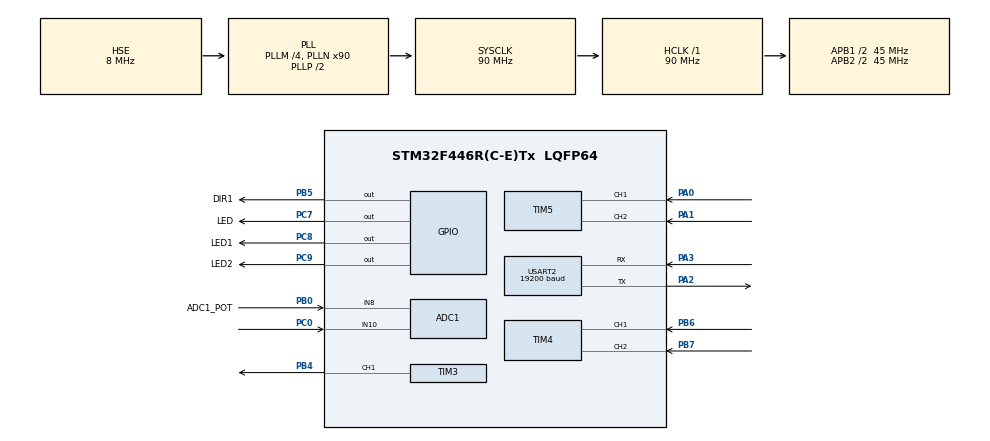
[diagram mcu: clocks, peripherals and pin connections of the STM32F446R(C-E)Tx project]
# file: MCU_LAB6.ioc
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ADC1.Channel-3\#ChannelRegularConversion=ADC_CHANNEL_8
ADC1.Channel-4\#ChannelRegularConversion=ADC_CHANNEL_10
ADC1.DMAContinuousRequests=ENABLE
ADC1.NbrOfConversion=2
ADC1.NbrOfConversionFlag=1
ADC1.Rank-3\#ChannelRegularConversion=1
ADC1.Rank-4\#ChannelRegularConversion=2
ADC1.SamplingTime-3\#ChannelRegularConversion=ADC_SAMPLETIME_15CYCLES
ADC1.SamplingTime-4\#ChannelRegularConversion=ADC_SAMPLETIME_15CYCLES
ADC1.ScanConvMode=ENABLE
ADC1.master=1
Dma.ADC1.1.Direction=DMA_PERIPH_TO_MEMORY
Dma.ADC1.1.FIFOMode=DMA_FIFOMODE_DISABLE
Dma.ADC1.1.Instance=DMA2_Stream0
Dma.ADC1.1.MemDataAlignment=DMA_MDATAALIGN_HALFWORD
Dma.ADC1.1.MemInc=DMA_MINC_ENABLE
Dma.ADC1.1.Mode=DMA_NORMAL
Dma.ADC1.1.PeriphDataAlignment=DMA_PDATAALIGN_HALFWORD
Dma.ADC1.1.PeriphInc=DMA_PINC_DISABLE
Dma.ADC1.1.Priority=DMA_PRIORITY_LOW
Dma.Request0=USART2_TX
Dma.Request1=ADC1
Dma.USART2_TX.0.Direction=DMA_MEMORY_TO_PERIPH
Dma.USART2_TX.0.FIFOMode=DMA_FIFOMODE_DISABLE
Dma.USART2_TX.0.Instance=DMA1_Stream6
Dma.USART2_TX.0.MemDataAlignment=DMA_MDATAALIGN_BYTE
Dma.USART2_TX.0.MemInc=DMA_MINC_ENABLE
Dma.USART2_TX.0.Mode=DMA_NORMAL
Dma.USART2_TX.0.PeriphDataAlignment=DMA_PDATAALIGN_BYTE
Dma.USART2_TX.0.PeriphInc=DMA_PINC_DISABLE
Dma.USART2_TX.0.Priority=DMA_PRIORITY_LOW
Mcu.Family=STM32F4
Mcu.Name=STM32F446R(C-E)Tx
Mcu.Package=LQFP64
NVIC.DMA1_Stream6_IRQn=true\:0\:0\:false\:false\:true\:false\:true\:true
NVIC.DMA2_Stream0_IRQn=true\:0\:0\:false\:false\:true\:false\:true\:true
NVIC.PriorityGroup=NVIC_PRIORITYGROUP_4
NVIC.TIM1_BRK_TIM9_IRQn=true\:0\:0\:false\:false\:true\:true\:true\:true
NVIC.TIM1_CC_IRQn=true\:0\:0\:false\:false\:true\:true\:true\:true
NVIC.TIM1_TRG_COM_TIM11_IRQn=true\:0\:0\:false\:false\:true\:true\:true\:true
NVIC.TIM1_UP_TIM10_IRQn=true\:0\:0\:false\:false\:true\:true\:true\:true
NVIC.TIM4_IRQn=true\:0\:0\:false\:false\:true\:true\:true\:true
NVIC.TIM5_IRQn=true\:0\:0\:false\:false\:true\:true\:true\:true
NVIC.USART2_IRQn=true\:0\:0\:false\:false\:true\:true\:true\:true
PA0-WKUP.Signal=S_TIM5_CH1
PA1.Signal=S_TIM5_CH2
PA2.Mode=Asynchronous
PA2.Signal=USART2_TX
PA3.Mode=Asynchronous
PA3.Signal=USART2_RX
PB0.GPIO_Label=ADC1_POT
PB0.Signal=ADCx_IN8
PB4.Signal=S_TIM3_CH1
PB5.GPIO_Label=DIR1
PB5.Signal=GPIO_Output
PB6.Signal=S_TIM4_CH1
PB7.Signal=S_TIM4_CH2
PC0.Signal=ADCx_IN10
PC7.GPIO_Label=LED
PC7.Signal=GPIO_Output
PC8.GPIO_Label=LED1
PC8.Signal=GPIO_Output
PC9.GPIO_Label=LED2
PC9.Signal=GPIO_Output
PH0-OSC_IN.Mode=HSE-External-Oscillator
PH0-OSC_IN.Signal=RCC_OSC_IN
PH1-OSC_OUT.Mode=HSE-External-Oscillator
PH1-OSC_OUT.Signal=RCC_OSC_OUT
ProjectManager.HeapSize=0x200
ProjectManager.StackSize=0x400
ProjectManager.TargetToolchain=STM32CubeIDE
RCC.AHBFreq_Value=90000000
RCC.APB1CLKDivider=RCC_HCLK_DIV2
RCC.APB1Freq_Value=45000000
RCC.APB1TimFreq_Value=90000000
RCC.APB2CLKDivider=RCC_HCLK_DIV2
RCC.APB2Freq_Value=45000000
RCC.APB2TimFreq_Value=90000000
RCC.CortexFreq_Value=90000000
RCC.HCLKFreq_Value=90000000
RCC.HSE_VALUE=8000000
RCC.PLLM=4
RCC.PLLN=90
RCC.PLLSourceVirtual=RCC_PLLSOURCE_HSE
RCC.SYSCLKFreq_VALUE=90000000
RCC.SYSCLKSource=RCC_SYSCLKSOURCE_PLLCLK
RCC.USBFreq_Value=90000000
RCC.VCOOutputFreq_Value=180000000
SH.ADCx_IN10.0=ADC1_IN10,IN10
SH.ADCx_IN8.0=ADC1_IN8,IN8
SH.S_TIM3_CH1.0=TIM3_CH1,PWM Generation1 CH1
SH.S_TIM4_CH1.0=TIM4_CH1,Encoder_Interface
SH.S_TIM4_CH2.0=TIM4_CH2,Encoder_Interface
SH.S_TIM5_CH1.0=TIM5_CH1,Encoder_Interface
SH.S_TIM5_CH2.0=TIM5_CH2,Encoder_Interface
TIM1.Period=12000 - 1
TIM1.Prescaler=90-1
TIM3.Channel-PWM\ Generation1\ CH1=TIM_CHANNEL_1
TIM3.Period=100-1
TIM3.Prescaler=90-1
TIM4.AutoReloadPreload=TIM_AUTORELOAD_PRELOAD_DISABLE
TIM4.EncoderMode=TIM_ENCODERMODE_TI12
TIM4.IC2Filter=5
TIM5.EncoderMode=TIM_ENCODERMODE_TI12
TIM5.IC1Filter=5
TIM5.IC2Filter=5
USART2.BaudRate=19200
USART2.VirtualMode=VM_ASYNC
VP_TIM1_VS_ClockSourceINT.Mode=Internal
board=custom

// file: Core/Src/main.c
/* USER CODE BEGIN Header */
/**
  ******************************************************************************
  * @file           : main.c
  * @brief          : Main program body
  ******************************************************************************
  * @attention
  *
  * Copyright (c) 2024 STMicroelectronics.
  * All rights reserved.
  *
  * This software is licensed under terms that can be found in the LICENSE file
  * in the root directory of this software component.
  * If no LICENSE file comes with this software, it is provided AS-IS.
  *
  ******************************************************************************
  */
/* USER CODE END Header */
#include "main.h"

/* USER CODE BEGIN Includes */
#include <math.h>
#include <stdio.h>
#include <stdbool.h>
#include <string.h>
#include <stdlib.h>
#define M_PI 3.14159
/* USER CODE END Includes */

ADC_HandleTypeDef hadc1;
DMA_HandleTypeDef hdma_adc1;

TIM_HandleTypeDef htim1;
TIM_HandleTypeDef htim3;
TIM_HandleTypeDef htim4;
TIM_HandleTypeDef htim5;

UART_HandleTypeDef huart2;
DMA_HandleTypeDef hdma_usart2_tx;

/* USER CODE BEGIN PV */

float sampling_period = 0.01f;

int16_t motor_enc_prev = 0;
int16_t target_speed;
int16_t max_target_speed = 35;
int32_t motor_enc;
int16_t real_motor_speed;
int16_t speed_error;

int16_t max_duty = 99;
int16_t duty = 0;
int16_t integral_error = 0;
int16_t kp = 1;
int16_t ki = 15;

/* USER CODE END PV */

void SystemClock_Config(void);
static void MX_GPIO_Init(void);
static void MX_DMA_Init(void);
static void MX_ADC1_Init(void);
static void MX_USART2_UART_Init(void);
static void MX_TIM3_Init(void);
static void MX_TIM1_Init(void);
static void MX_TIM5_Init(void);
static void MX_TIM4_Init(void);

/* USER CODE BEGIN 0 */
#define ENCODER_PULSES_PER_REV 7 // PPR, Pulses Per Revolution
//#define message_header 0xABCD
//#define message_terminator 0xBEDA
#define message_header 'N'
#define message_terminator 'E'

struct __attribute__((__packed__)) msg {
	uint8_t header;
	float target_speed;
	float real_speed;
	float real_pos;
	float duty;
	uint8_t terminator;
};
struct msg telemetry = {'N', 0, 0, 0, 'E'};

void sendToSimulink() {
	telemetry.header = message_header;
	telemetry.target_speed = target_speed;
	telemetry.real_speed = real_motor_speed;
	telemetry.real_pos = motor_enc;
	telemetry.duty = duty;
	telemetry.terminator = message_terminator;
    HAL_UART_Transmit_DMA(&huart2, (uint8_t*)&telemetry, sizeof(telemetry));
}

void set_duty (int16_t duty) {
	if (duty > 0) {
		HAL_GPIO_WritePin(GPIOB, GPIO_PIN_5, 0);
		__HAL_TIM_SET_COMPARE(&htim3, TIM_CHANNEL_1, duty);
	}
	else if (duty < 0) {
		HAL_GPIO_WritePin(GPIOB, GPIO_PIN_5, 1);
		__HAL_TIM_SET_COMPARE(&htim3, TIM_CHANNEL_1, -duty);
	}
	else {
		__HAL_TIM_SET_COMPARE(&htim3, TIM_CHANNEL_1, 0);
	}
}

/* USER CODE END 0 */

int main(void)
{

  /* MCU Configuration--------------------------------------------------------*/

  /* Reset of all peripherals, Initializes the Flash interface and the Systick. */
  HAL_Init();

  /* Configure the system clock */
  SystemClock_Config();

  /* Initialize all configured peripherals */
  MX_GPIO_Init();
  MX_DMA_Init();
  MX_ADC1_Init();
  MX_USART2_UART_Init();
  MX_TIM3_Init();
  MX_TIM1_Init();
  MX_TIM5_Init();
  MX_TIM4_Init();
  /* USER CODE BEGIN 2 */
  HAL_TIM_PWM_Start(&htim3, TIM_CHANNEL_1);
  HAL_TIM_Base_Start_IT(&htim1);
  HAL_TIM_Encoder_Start(&htim5, TIM_CHANNEL_ALL); // TIM_CHANNEL_ALL --> both --> channel 3, 4
  HAL_TIM_Encoder_Start(&htim4, TIM_CHANNEL_ALL); // TIM_CHANNEL_ALL --> both --> channel 3, 4
//  reset_encoder(&pot_enc_inst);
//  reset_encoder(&motor_enc_inst);
  /* USER CODE END 2 */

  /* Infinite loop */
  while (1)
  {

  }
}

void SystemClock_Config(void)
{
  RCC_OscInitTypeDef RCC_OscInitStruct = {0};
  RCC_ClkInitTypeDef RCC_ClkInitStruct = {0};

  /** Configure the main internal regulator output voltage
  */
  __HAL_RCC_PWR_CLK_ENABLE();
  __HAL_PWR_VOLTAGESCALING_CONFIG(PWR_REGULATOR_VOLTAGE_SCALE3);

  /** Initializes the RCC Oscillators according to the specified parameters
  * in the RCC_OscInitTypeDef structure.
  */
  RCC_OscInitStruct.OscillatorType = RCC_OSCILLATORTYPE_HSE;
  RCC_OscInitStruct.HSEState = RCC_HSE_ON;
  RCC_OscInitStruct.PLL.PLLState = RCC_PLL_ON;
  RCC_OscInitStruct.PLL.PLLSource = RCC_PLLSOURCE_HSE;
  RCC_OscInitStruct.PLL.PLLM = 4;
  RCC_OscInitStruct.PLL.PLLN = 90;
  RCC_OscInitStruct.PLL.PLLP = RCC_PLLP_DIV2;
  RCC_OscInitStruct.PLL.PLLQ = 2;
  RCC_OscInitStruct.PLL.PLLR = 2;
  if (HAL_RCC_OscConfig(&RCC_OscInitStruct) != HAL_OK)
  {
    Error_Handler();
  }

  /** Initializes the CPU, AHB and APB buses clocks
  */
  RCC_ClkInitStruct.ClockType = RCC_CLOCKTYPE_HCLK|RCC_CLOCKTYPE_SYSCLK
                              |RCC_CLOCKTYPE_PCLK1|RCC_CLOCKTYPE_PCLK2;
  RCC_ClkInitStruct.SYSCLKSource = RCC_SYSCLKSOURCE_PLLCLK;
  RCC_ClkInitStruct.AHBCLKDivider = RCC_SYSCLK_DIV1;
  RCC_ClkInitStruct.APB1CLKDivider = RCC_HCLK_DIV2;
  RCC_ClkInitStruct.APB2CLKDivider = RCC_HCLK_DIV2;

  if (HAL_RCC_ClockConfig(&RCC_ClkInitStruct, FLASH_LATENCY_2) != HAL_OK)
  {
    Error_Handler();
  }
}

static void MX_ADC1_Init(void)
{

  ADC_ChannelConfTypeDef sConfig = {0};

  /** Configure the global features of the ADC (Clock, Resolution, Data Alignment and number of conversion)
  */
  hadc1.Instance = ADC1;
  hadc1.Init.ClockPrescaler = ADC_CLOCK_SYNC_PCLK_DIV2;
  hadc1.Init.Resolution = ADC_RESOLUTION_12B;
  hadc1.Init.ScanConvMode = ENABLE;
  hadc1.Init.ContinuousConvMode = DISABLE;
  hadc1.Init.DiscontinuousConvMode = DISABLE;
  hadc1.Init.ExternalTrigConvEdge = ADC_EXTERNALTRIGCONVEDGE_NONE;
  hadc1.Init.ExternalTrigConv = ADC_SOFTWARE_START;
  hadc1.Init.DataAlign = ADC_DATAALIGN_RIGHT;
  hadc1.Init.NbrOfConversion = 2;
  hadc1.Init.DMAContinuousRequests = ENABLE;
  hadc1.Init.EOCSelection = ADC_EOC_SINGLE_CONV;
  if (HAL_ADC_Init(&hadc1) != HAL_OK)
  {
    Error_Handler();
  }

  /** Configure for the selected ADC regular channel its corresponding rank in the sequencer and its sample time.
  */
  sConfig.Channel = ADC_CHANNEL_8;
  sConfig.Rank = 1;
  sConfig.SamplingTime = ADC_SAMPLETIME_15CYCLES;
  if (HAL_ADC_ConfigChannel(&hadc1, &sConfig) != HAL_OK)
  {
    Error_Handler();
  }

  /** Configure for the selected ADC regular channel its corresponding rank in the sequencer and its sample time.
  */
  sConfig.Channel = ADC_CHANNEL_10;
  sConfig.Rank = 2;
  if (HAL_ADC_ConfigChannel(&hadc1, &sConfig) != HAL_OK)
  {
    Error_Handler();
  }

}

static void MX_TIM1_Init(void)
{

  TIM_ClockConfigTypeDef sClockSourceConfig = {0};
  TIM_MasterConfigTypeDef sMasterConfig = {0};

  htim1.Instance = TIM1;
  htim1.Init.Prescaler = 90-1;
  htim1.Init.CounterMode = TIM_COUNTERMODE_UP;
  htim1.Init.Period = 12000 - 1;
  htim1.Init.ClockDivision = TIM_CLOCKDIVISION_DIV1;
  htim1.Init.RepetitionCounter = 0;
  htim1.Init.AutoReloadPreload = TIM_AUTORELOAD_PRELOAD_DISABLE;
  if (HAL_TIM_Base_Init(&htim1) != HAL_OK)
  {
    Error_Handler();
  }
  sClockSourceConfig.ClockSource = TIM_CLOCKSOURCE_INTERNAL;
  if (HAL_TIM_ConfigClockSource(&htim1, &sClockSourceConfig) != HAL_OK)
  {
    Error_Handler();
  }
  sMasterConfig.MasterOutputTrigger = TIM_TRGO_RESET;
  sMasterConfig.MasterSlaveMode = TIM_MASTERSLAVEMODE_DISABLE;
  if (HAL_TIMEx_MasterConfigSynchronization(&htim1, &sMasterConfig) != HAL_OK)
  {
    Error_Handler();
  }

}

static void MX_TIM3_Init(void)
{

  TIM_MasterConfigTypeDef sMasterConfig = {0};
  TIM_OC_InitTypeDef sConfigOC = {0};

  htim3.Instance = TIM3;
  htim3.Init.Prescaler = 90-1;
  htim3.Init.CounterMode = TIM_COUNTERMODE_UP;
  htim3.Init.Period = 100-1;
  htim3.Init.ClockDivision = TIM_CLOCKDIVISION_DIV1;
  htim3.Init.AutoReloadPreload = TIM_AUTORELOAD_PRELOAD_DISABLE;
  if (HAL_TIM_PWM_Init(&htim3) != HAL_OK)
  {
    Error_Handler();
  }
  sMasterConfig.MasterOutputTrigger = TIM_TRGO_RESET;
  sMasterConfig.MasterSlaveMode = TIM_MASTERSLAVEMODE_DISABLE;
  if (HAL_TIMEx_MasterConfigSynchronization(&htim3, &sMasterConfig) != HAL_OK)
  {
    Error_Handler();
  }
  sConfigOC.OCMode = TIM_OCMODE_PWM1;
  sConfigOC.Pulse = 0;
  sConfigOC.OCPolarity = TIM_OCPOLARITY_HIGH;
  sConfigOC.OCFastMode = TIM_OCFAST_DISABLE;
  if (HAL_TIM_PWM_ConfigChannel(&htim3, &sConfigOC, TIM_CHANNEL_1) != HAL_OK)
  {
    Error_Handler();
  }
  HAL_TIM_MspPostInit(&htim3);

}

static void MX_TIM4_Init(void)
{

  TIM_Encoder_InitTypeDef sConfig = {0};
  TIM_MasterConfigTypeDef sMasterConfig = {0};

  htim4.Instance = TIM4;
  htim4.Init.Prescaler = 0;
  htim4.Init.CounterMode = TIM_COUNTERMODE_UP;
  htim4.Init.Period = 65535;
  htim4.Init.ClockDivision = TIM_CLOCKDIVISION_DIV1;
  htim4.Init.AutoReloadPreload = TIM_AUTORELOAD_PRELOAD_DISABLE;
  sConfig.EncoderMode = TIM_ENCODERMODE_TI12;
  sConfig.IC1Polarity = TIM_ICPOLARITY_RISING;
  sConfig.IC1Selection = TIM_ICSELECTION_DIRECTTI;
  sConfig.IC1Prescaler = TIM_ICPSC_DIV1;
  sConfig.IC1Filter = 0;
  sConfig.IC2Polarity = TIM_ICPOLARITY_RISING;
  sConfig.IC2Selection = TIM_ICSELECTION_DIRECTTI;
  sConfig.IC2Prescaler = TIM_ICPSC_DIV1;
  sConfig.IC2Filter = 5;
  if (HAL_TIM_Encoder_Init(&htim4, &sConfig) != HAL_OK)
  {
    Error_Handler();
  }
  sMasterConfig.MasterOutputTrigger = TIM_TRGO_RESET;
  sMasterConfig.MasterSlaveMode = TIM_MASTERSLAVEMODE_DISABLE;
  if (HAL_TIMEx_MasterConfigSynchronization(&htim4, &sMasterConfig) != HAL_OK)
  {
    Error_Handler();
  }

}

static void MX_TIM5_Init(void)
{

  TIM_Encoder_InitTypeDef sConfig = {0};
  TIM_MasterConfigTypeDef sMasterConfig = {0};

  htim5.Instance = TIM5;
  htim5.Init.Prescaler = 0;
  htim5.Init.CounterMode = TIM_COUNTERMODE_UP;
  htim5.Init.Period = 4294967295;
  htim5.Init.ClockDivision = TIM_CLOCKDIVISION_DIV1;
  htim5.Init.AutoReloadPreload = TIM_AUTORELOAD_PRELOAD_DISABLE;
  sConfig.EncoderMode = TIM_ENCODERMODE_TI12;
  sConfig.IC1Polarity = TIM_ICPOLARITY_RISING;
  sConfig.IC1Selection = TIM_ICSELECTION_DIRECTTI;
  sConfig.IC1Prescaler = TIM_ICPSC_DIV1;
  sConfig.IC1Filter = 5;
  sConfig.IC2Polarity = TIM_ICPOLARITY_RISING;
  sConfig.IC2Selection = TIM_ICSELECTION_DIRECTTI;
  sConfig.IC2Prescaler = TIM_ICPSC_DIV1;
  sConfig.IC2Filter = 5;
  if (HAL_TIM_Encoder_Init(&htim5, &sConfig) != HAL_OK)
  {
    Error_Handler();
  }
  sMasterConfig.MasterOutputTrigger = TIM_TRGO_RESET;
  sMasterConfig.MasterSlaveMode = TIM_MASTERSLAVEMODE_DISABLE;
  if (HAL_TIMEx_MasterConfigSynchronization(&htim5, &sMasterConfig) != HAL_OK)
  {
    Error_Handler();
  }

}

static void MX_USART2_UART_Init(void)
{

  huart2.Instance = USART2;
  huart2.Init.BaudRate = 19200;
  huart2.Init.WordLength = UART_WORDLENGTH_8B;
  huart2.Init.StopBits = UART_STOPBITS_1;
  huart2.Init.Parity = UART_PARITY_NONE;
  huart2.Init.Mode = UART_MODE_TX_RX;
  huart2.Init.HwFlowCtl = UART_HWCONTROL_NONE;
  huart2.Init.OverSampling = UART_OVERSAMPLING_16;
  if (HAL_UART_Init(&huart2) != HAL_OK)
  {
    Error_Handler();
  }

}

static void MX_DMA_Init(void)
{

  /* DMA controller clock enable */
  __HAL_RCC_DMA1_CLK_ENABLE();
  __HAL_RCC_DMA2_CLK_ENABLE();

  /* DMA interrupt init */
  /* DMA1_Stream6_IRQn interrupt configuration */
  HAL_NVIC_SetPriority(DMA1_Stream6_IRQn, 0, 0);
  HAL_NVIC_EnableIRQ(DMA1_Stream6_IRQn);
  /* DMA2_Stream0_IRQn interrupt configuration */
  HAL_NVIC_SetPriority(DMA2_Stream0_IRQn, 0, 0);
  HAL_NVIC_EnableIRQ(DMA2_Stream0_IRQn);

}

static void MX_GPIO_Init(void)
{
  GPIO_InitTypeDef GPIO_InitStruct = {0};

  /* GPIO Ports Clock Enable */
  __HAL_RCC_GPIOH_CLK_ENABLE();
  __HAL_RCC_GPIOC_CLK_ENABLE();
  __HAL_RCC_GPIOA_CLK_ENABLE();
  __HAL_RCC_GPIOB_CLK_ENABLE();

  /*Configure GPIO pin Output Level */
  HAL_GPIO_WritePin(GPIOC, LED_Pin|LED1_Pin|LED2_Pin, GPIO_PIN_RESET);

  /*Configure GPIO pin Output Level */
  HAL_GPIO_WritePin(DIR1_GPIO_Port, DIR1_Pin, GPIO_PIN_RESET);

  /*Configure GPIO pins : LED_Pin LED1_Pin LED2_Pin */
  GPIO_InitStruct.Pin = LED_Pin|LED1_Pin|LED2_Pin;
  GPIO_InitStruct.Mode = GPIO_MODE_OUTPUT_PP;
  GPIO_InitStruct.Pull = GPIO_NOPULL;
  GPIO_InitStruct.Speed = GPIO_SPEED_FREQ_LOW;
  HAL_GPIO_Init(GPIOC, &GPIO_InitStruct);

  /*Configure GPIO pin : DIR1_Pin */
  GPIO_InitStruct.Pin = DIR1_Pin;
  GPIO_InitStruct.Mode = GPIO_MODE_OUTPUT_PP;
  GPIO_InitStruct.Pull = GPIO_NOPULL;
  GPIO_InitStruct.Speed = GPIO_SPEED_FREQ_LOW;
  HAL_GPIO_Init(DIR1_GPIO_Port, &GPIO_InitStruct);

}

/* USER CODE BEGIN 4 */
// TIM1 INTERRUPT ONLY
void HAL_TIM_PeriodElapsedCallback(TIM_HandleTypeDef* htim)
{
	target_speed = __HAL_TIM_GET_COUNTER(&htim4);
	motor_enc = __HAL_TIM_GET_COUNTER(&htim5);
//	real_motor_speed = ( -(motor_enc - motor_enc_prev) * 2 * M_PI ) / ENCODER_PULSES_PER_REV; //TODO: measure it ! turn float everything
	real_motor_speed = -(motor_enc - motor_enc_prev) ; // / ( ENCODER_PULSES_PER_REV );

	if (target_speed > max_target_speed) {
		target_speed = max_target_speed;
		__HAL_TIM_SET_COUNTER(&htim4, target_speed);
	}
	else if (target_speed < -max_target_speed) {
		target_speed = -max_target_speed;
		__HAL_TIM_SET_COUNTER(&htim4, target_speed);
	}

	speed_error = target_speed - real_motor_speed;

	sendToSimulink();

	integral_error += speed_error * 0.001f;
	duty += kp*speed_error + ki*integral_error;
	if (duty > max_duty) duty = max_duty;
	if (duty < -max_duty) duty = -max_duty;

	set_duty(duty);
	motor_enc_prev = motor_enc;
}

/* USER CODE END 4 */

void Error_Handler(void)
{
  __disable_irq();
  while (1)
  {
  }
}
